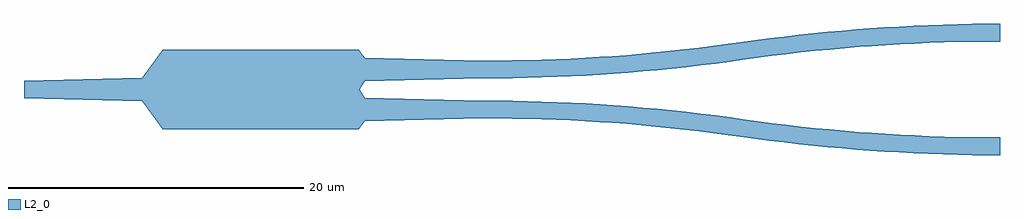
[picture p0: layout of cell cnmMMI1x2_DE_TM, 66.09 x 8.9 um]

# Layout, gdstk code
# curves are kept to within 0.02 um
import gdstk
lib = gdstk.Library(unit=1e-6, precision=1e-09)
def R(c, l, rs):  # rectangles x0, y0, x1, y1
    for r in rs: c.add(gdstk.rectangle(r[:2], r[2:], *l))
def P(c, l, *ps):  # polygons
    for p in ps: c.add(gdstk.Polygon(p, *l))
L2_0 = (2, 0)

cnmmmi1x2_de_tm = lib.new_cell('cnmMMI1x2_DE_TM')
R(cnmmmi1x2_de_tm, L2_0, [(9.383,-2.7,22.65,2.7)])
P(cnmmmi1x2_de_tm, L2_0, [(9.383,-2.7),(8,-0.8),(8,0.8),(9.383,2.7)],
  [(8,-0.8),(0,-0.6),(0,0.6),(8,0.8)],
  [(22.65,-0.1),(22.65,2.7),(23.087,2.15),(23.087,0.55)],
  [(22.65,-2.7),(22.65,0.1),(23.087,-0.55),(23.087,-2.15)],
  [(23.087,0.55),(23.087,2.15),(31.087,1.95),(31.087,0.75)],
  [(23.087,-2.15),(23.087,-0.55),(31.087,-0.75),(31.087,-1.95)],
  [(31.087,0.75),(31.087,1.95),(35.048,2.014),(37.026,2.094),(39.817,2.261),(43.763,2.607),(45.73,2.828),(48.502,3.194),(48.672,2.006),(44.853,1.518),(41.888,1.222),(39.902,1.064),(37.049,0.894),(35.064,0.814)],
  [(48.672,2.006),(48.502,3.194),(52.448,3.696),(54.424,3.899),(57.272,4.136),(61.244,4.355),(63.229,4.417),(66.087,4.45),(66.087,3.25),(63.292,3.218),(61.313,3.157),(57.357,2.939),(54.571,2.708),(52.602,2.506)],
  [(48.502,-3.194),(45.73,-2.828),(43.763,-2.607),(39.817,-2.261),(37.026,-2.094),(35.048,-2.014),(31.087,-1.95),(31.087,-0.75),(35.064,-0.814),(37.049,-0.894),(39.902,-1.064),(41.888,-1.222),(44.853,-1.518),(48.672,-2.006)],
  [(66.087,-4.45),(63.229,-4.417),(61.244,-4.355),(57.272,-4.136),(54.424,-3.899),(52.448,-3.696),(48.502,-3.194),(48.672,-2.006),(52.602,-2.506),(54.571,-2.708),(57.357,-2.939),(61.313,-3.157),(63.292,-3.218),(66.087,-3.25)])

lib.write_gds('cnmMMI1x2_DE_TM.gds')
